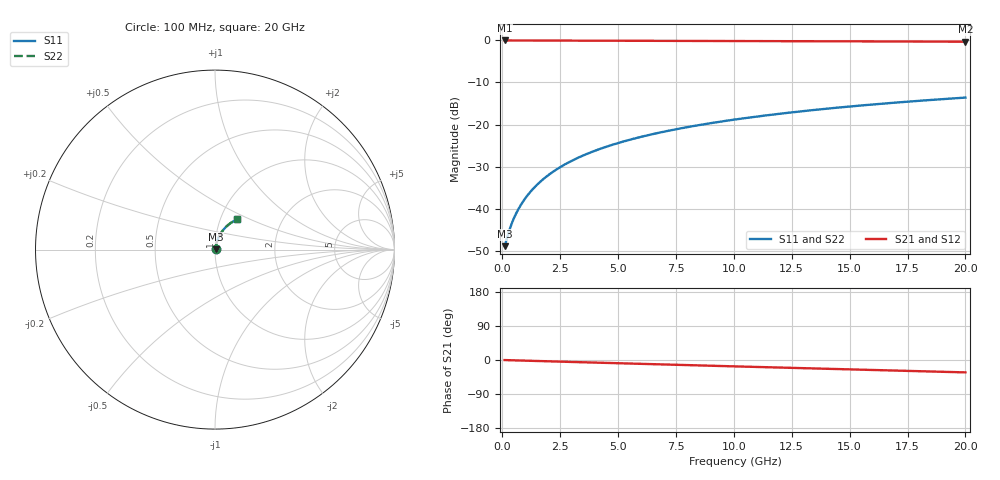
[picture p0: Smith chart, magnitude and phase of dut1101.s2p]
! Touchstone file exported from HFSS 2026.1.0
!  File:  C:/ffzhzh/LocalFiles/Ansys_Project_Files/temp_train_BSMRDL_1101_1783174779_22436.aedt
!  Generated:  10:20:49 PM Jul  4, 2026
!  Design:  BSMRDL
!  Project:  temp_train_BSMRDL_1101_1783174779_22436
! Variables:
!  h_bsmrdl = 4.6um
!  h_ox = 20um
!  h_rdl = 5um
!  h_sub = 80um
!  h_tmrdl = 5um
!  h_tsv = 80um
!  h_via = 3um
!  l_bsmrdl = 547.49um
!  l_sub = 947.49um
!  l_tmrdl = 200um
!  m_sub = 200um
!  pitch = 23.5um
!  r_tsv = 6um
!  s_tmrdl = 10um
!  w_bsmrdl = 13.14um
!  w_sub = 500um
!  w_tmrdl = 12um
!  x_tsv_center1 = 206um
!  x_tsv_center2 = 766.63um
!  x_tsv_center3 = 978.63um
!  x_tsv_center4 = 1539.26um
!  x_tsv_center5 = 1751.26um
!  x_tsv_center6 = 2311.89um
# GHz S MA R 50.000000
! Terminal data exported
! Port[1] = BSM_RDL1_1_T1
! Port[2] = BSM_RDL1_1_T2
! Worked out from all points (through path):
!   200 points, 100 MHz to 20 GHz, reference 50 ohm
!   highest |S21| = -0.03 dB at 100 MHz (marker M1); lowest = -0.3 dB at 20 GHz (marker M2)
!   group delay of S21, straight-line fit = 4.53 ps
!   lowest |S11| = -48.8 dB at 100 MHz (marker M3), VSWR 1.01, Z = 50.3 + j0.147 ohm
!   |S11| at or under -10 dB: start of sweep to end of sweep
!   |S22| runs from -48.8 to -13.6 dB; largest |S21 - S12| = 3.2e-15
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0.1  0.003623 23.7  0.9967 -0.2  0.9967 -0.2  0.003623 23.7
! Gamma 0 0 0 0
! Port Impedance 50 0 50 0
0.3  0.005537 48.9  0.9964 -0.5  0.9964 -0.5  0.005535 48.8
0.4  0.006639 54.9  0.9962 -0.7  0.9962 -0.7  0.006634 54.9
0.5  0.007754 59.1  0.9961 -0.9  0.9961 -0.9  0.007747 59.1
0.6  0.008877 62.3  0.996 -1.1  0.996 -1.1  0.008869 62.3
0.7  0.01001 64.8  0.9959 -1.2  0.9959 -1.2  0.01 64.8
0.9  0.01231 68.5  0.9958 -1.6  0.9958 -1.6  0.0123 68.5
1.2  0.01582 71.9  0.9956 -2.1  0.9956 -2.1  0.01581 71.9
1.4  0.01819 73.3  0.9955 -2.4  0.9955 -2.4  0.01818 73.4
1.7  0.02176 74.8  0.9952 -2.9  0.9952 -2.9  0.02176 74.8
2.2  0.02775 76.0  0.9948 -3.8  0.9948 -3.8  0.02775 76.0
2.8  0.03492 76.4  0.9942 -4.8  0.9942 -4.8  0.03491 76.5
3.5  0.04319 76.2  0.9933 -6.0  0.9933 -6.0  0.04319 76.3
4.2  0.05136 75.7  0.9923 -7.2  0.9923 -7.2  0.05135 75.7
5  0.06053 74.8  0.9911 -8.5  0.9911 -8.5  0.06053 74.8
5.9  0.07065 73.6  0.9897 -10.0  0.9897 -10.0  0.07065 73.7
6.8  0.08058 72.4  0.9883 -11.5  0.9883 -11.5  0.08058 72.4
8.3  0.09674 70.3  0.9857 -14.0  0.9857 -14.0  0.09673 70.3
10.1  0.1156 67.7  0.9826 -16.9  0.9826 -16.9  0.1156 67.8
13.4  0.1487 63.0  0.9765 -22.2  0.9765 -22.2  0.1487 63.0
16.7  0.18 58.1  0.97 -27.5  0.97 -27.5  0.18 58.2
20  0.2093 53.3  0.9631 -32.7  0.9631 -32.7  0.2093 53.4
